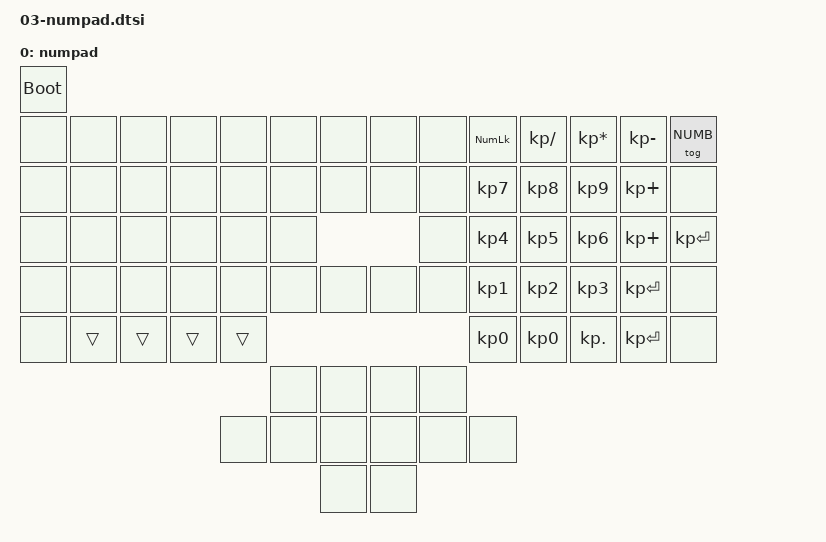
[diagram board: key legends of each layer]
/ {
  keymap {
    compatible = "zmk,keymap";

    // https://zmk.dev/docs/codes

    numpad { // NUMB
      bindings = <
        &bootloader
        &none        &none        &none        &none        &none         &none       &none             &none          &none         &kp KP_NLCK      &kp KP_SLASH     &kp KP_MULTIPLY  &kp KP_MINUS         &tog NUMB
        &none        &none        &none        &none        &none         &none       &none             &none          &none         &kp KP_N7        &kp KP_N8        &kp KP_N9        &kp KP_PLUS          &none
        &none        &none        &none        &none        &none         &none                                        &none         &kp KP_N4        &kp KP_N5        &kp KP_N6        &kp KP_PLUS          &kp KP_ENTER
        &none        &none        &none        &none        &none         &none       &none             &none          &none         &kp KP_N1        &kp KP_N2        &kp KP_N3        &kp KP_ENTER         &none
        &none        &trans       &trans       &trans       &trans                                                                   &kp KP_N0        &kp KP_N0        &kp KP_DOT       &kp KP_ENTER         &none
                                                                          &none       &none             &none          &none
                                                            &none         &none       &none             &none          &none         &none
                                                                                      &none             &none
      >;
    };
  };
};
